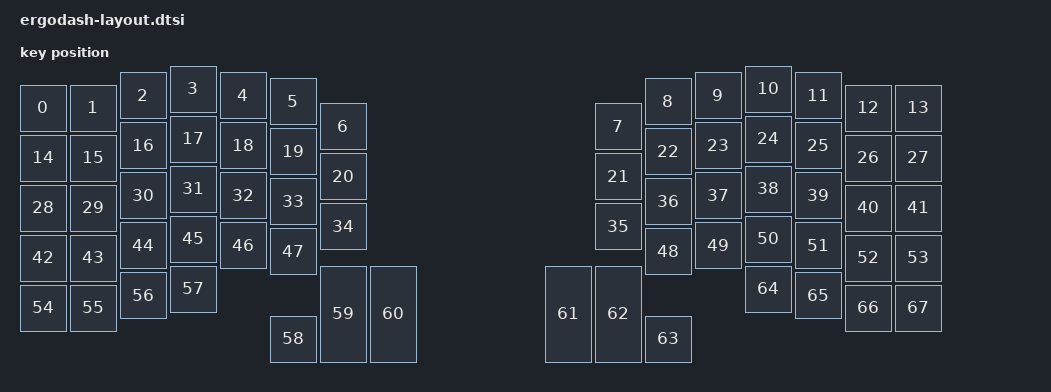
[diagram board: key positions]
#include <physical_layouts.dtsi>


/ {
        physical_layout0: physical_layout_0 {
        compatible = "zmk,physical-layout";
        display-name = "Ergodash";
        transform = <&default_transform>;
        kscan = <&kscan0>;
        keys  //                     w   h    x    y     rot    rx    ry
            = <&key_physical_attrs 100 100    0   38       0     0     0>
            , <&key_physical_attrs 100 100  100   38       0     0     0>
            , <&key_physical_attrs 100 100  200   13       0     0     0>
            , <&key_physical_attrs 100 100  300    0       0     0     0>
            , <&key_physical_attrs 100 100  400   13       0     0     0>
            , <&key_physical_attrs 100 100  500   25       0     0     0>
            , <&key_physical_attrs 100 100  600   75       0     0     0>
            , <&key_physical_attrs 100 100 1150   75       0     0     0>
            , <&key_physical_attrs 100 100 1250   25       0     0     0>
            , <&key_physical_attrs 100 100 1350   13       0     0     0>
            , <&key_physical_attrs 100 100 1450    0       0     0     0>
            , <&key_physical_attrs 100 100 1550   13       0     0     0>
            , <&key_physical_attrs 100 100 1650   38       0     0     0>
            , <&key_physical_attrs 100 100 1750   38       0     0     0>
            , <&key_physical_attrs 100 100    0  138       0     0     0>
            , <&key_physical_attrs 100 100  100  138       0     0     0>
            , <&key_physical_attrs 100 100  200  113       0     0     0>
            , <&key_physical_attrs 100 100  300  100       0     0     0>
            , <&key_physical_attrs 100 100  400  113       0     0     0>
            , <&key_physical_attrs 100 100  500  125       0     0     0>
            , <&key_physical_attrs 100 100  600  175       0     0     0>
            , <&key_physical_attrs 100 100 1150  175       0     0     0>
            , <&key_physical_attrs 100 100 1250  125       0     0     0>
            , <&key_physical_attrs 100 100 1350  113       0     0     0>
            , <&key_physical_attrs 100 100 1450  100       0     0     0>
            , <&key_physical_attrs 100 100 1550  113       0     0     0>
            , <&key_physical_attrs 100 100 1650  138       0     0     0>
            , <&key_physical_attrs 100 100 1750  138       0     0     0>
            , <&key_physical_attrs 100 100    0  238       0     0     0>
            , <&key_physical_attrs 100 100  100  238       0     0     0>
            , <&key_physical_attrs 100 100  200  213       0     0     0>
            , <&key_physical_attrs 100 100  300  200       0     0     0>
            , <&key_physical_attrs 100 100  400  213       0     0     0>
            , <&key_physical_attrs 100 100  500  225       0     0     0>
            , <&key_physical_attrs 100 100  600  275       0     0     0>
            , <&key_physical_attrs 100 100 1150  275       0     0     0>
            , <&key_physical_attrs 100 100 1250  225       0     0     0>
            , <&key_physical_attrs 100 100 1350  213       0     0     0>
            , <&key_physical_attrs 100 100 1450  200       0     0     0>
            , <&key_physical_attrs 100 100 1550  213       0     0     0>
            , <&key_physical_attrs 100 100 1650  238       0     0     0>
            , <&key_physical_attrs 100 100 1750  238       0     0     0>
            , <&key_physical_attrs 100 100    0  338       0     0     0>
            , <&key_physical_attrs 100 100  100  338       0     0     0>
            , <&key_physical_attrs 100 100  200  313       0     0     0>
            , <&key_physical_attrs 100 100  300  300       0     0     0>
            , <&key_physical_attrs 100 100  400  313       0     0     0>
            , <&key_physical_attrs 100 100  500  325       0     0     0>
            , <&key_physical_attrs 100 100 1250  325       0     0     0>
            , <&key_physical_attrs 100 100 1350  313       0     0     0>
            , <&key_physical_attrs 100 100 1450  300       0     0     0>
            , <&key_physical_attrs 100 100 1550  313       0     0     0>
            , <&key_physical_attrs 100 100 1650  338       0     0     0>
            , <&key_physical_attrs 100 100 1750  338       0     0     0>
            , <&key_physical_attrs 100 100    0  438       0     0     0>
            , <&key_physical_attrs 100 100  100  438       0     0     0>
            , <&key_physical_attrs 100 100  200  413       0     0     0>
            , <&key_physical_attrs 100 100  300  400       0     0     0>
            , <&key_physical_attrs 100 100  500  500       0     0     0>
            , <&key_physical_attrs 100 200  600  400       0     0     0>
            , <&key_physical_attrs 100 200  700  400       0     0     0>
            , <&key_physical_attrs 100 200 1050  400       0     0     0>
            , <&key_physical_attrs 100 200 1150  400       0     0     0>
            , <&key_physical_attrs 100 100 1250  500       0     0     0>
            , <&key_physical_attrs 100 100 1450  400       0     0     0>
            , <&key_physical_attrs 100 100 1550  413       0     0     0>
            , <&key_physical_attrs 100 100 1650  438       0     0     0>
            , <&key_physical_attrs 100 100 1750  438       0     0     0>
            ;    
    };    
};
